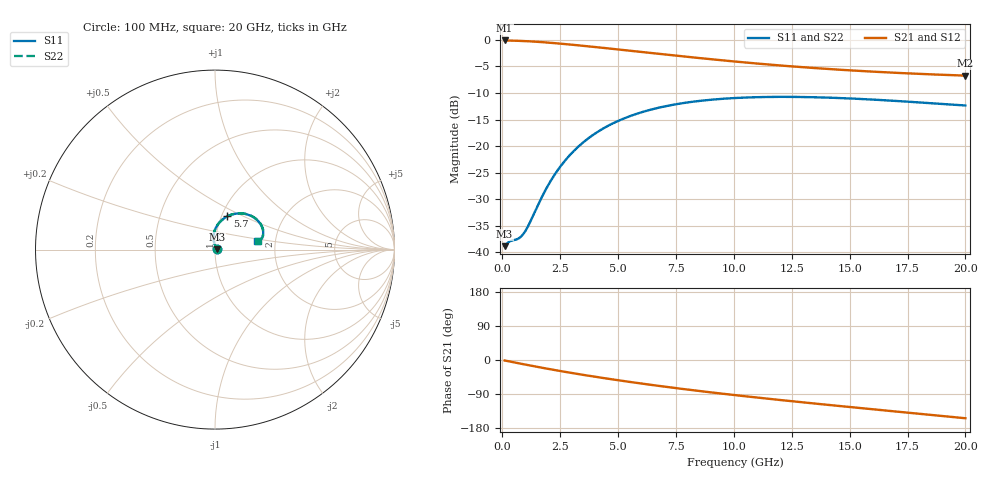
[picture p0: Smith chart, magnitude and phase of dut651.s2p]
! Touchstone file exported from HFSS 2024.1.0
!  File:  C:/UserFiles/LocalFiles/RDL_TSV_Batchsim/temp_RDL_TSV_651_1779809384.aedt
!  Generated:  11:47:02 PM May 26, 2026
!  Design:  RDL_TSV
!  Project:  temp_RDL_TSV_651_1779809384
!  Setup:  Setup1
!  Solution:  Sweep
! Variables:
!  dtsv = 5.36um
!  hbump = 3um
!  htsv = 72.65um
!  ldown = 292.23um
!  lrdl = 326.59um
!  p = 40
!  p1 = 44.64um
!  rhole = 10um
!  subl = 2183.05um
!  t = 450um
!  tdown = 2.94um
!  trdl = 4.83um
!  viad = 10um
!  wdown = 18.53um
!  wrdl = 29.21um
!  xbump = 18um
# GHz S MA R 50.000000
! Terminal data exported
! Port[1] = TM1_1_T1
! Port[2] = TM1_4_T1
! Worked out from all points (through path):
!   200 points, 100 MHz to 20 GHz, reference 50 ohm
!   highest |S21| = -0.10 dB at 100 MHz (marker M1); lowest = -6.7 dB at 20 GHz (marker M2)
!   group delay of S21, straight-line fit = 20.4 ps
!   lowest |S11| = -38.9 dB at 100 MHz (marker M3), VSWR 1.02, Z = 51.1 + j0.195 ohm
!   |S11| at or under -10 dB: start of sweep to end of sweep
!   |S22| runs from -38.9 to -10.7 dB; largest |S21 - S12| = 9.3e-15
!   S11 on the Smith chart (normalised r, x): 100 MHz: 1.02, +0.00; 5.7 GHz: 1.07, +0.41; 20 GHz: 1.61, +0.16
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0.1  0.01141 9.6  0.9885 -1.3  0.9885 -1.3  0.01141 9.6
! Gamma 0 0 0 0
! Port Impedance 50 0 50 0
0.3  0.01258 21.4  0.9864 -3.7  0.9864 -3.7  0.01258 21.4
0.7  0.01346 45.0  0.9806 -8.6  0.9806 -8.6  0.01345 45.0
0.9  0.01476 59.7  0.9766 -11.0  0.9766 -11.0  0.01475 59.8
1.1  0.01739 73.2  0.9719 -13.3  0.9719 -13.3  0.01739 73.4
1.8  0.03623 96.1  0.9502 -21.4  0.9502 -21.4  0.03627 96.2
2.2  0.05136 98.2  0.9351 -25.8  0.9351 -25.8  0.05145 98.3
2.5  0.06388 97.7  0.923 -29.0  0.923 -29.0  0.06399 97.8
2.8  0.07701 96.1  0.9103 -32.2  0.9103 -32.2  0.07716 96.2
3.5  0.1086 90.5  0.8798 -39.3  0.8798 -39.3  0.1088 90.6
4  0.1309 85.7  0.8576 -44.1  0.8576 -44.1  0.1312 85.8
4.5  0.1524 80.9  0.8355 -48.8  0.8355 -48.8  0.1527 80.9
5.1  0.1763 75.1  0.8092 -54.3  0.8092 -54.3  0.1767 75.1
5.7  0.1979 69.5  0.7835 -59.5  0.7835 -59.5  0.1984 69.6
6.8  0.231 59.9  0.7384 -68.7  0.7384 -68.7  0.2317 60.0
8.4  0.2645 47.9  0.6787 -81.0  0.6787 -81.0  0.2654 48.0
10.1  0.284 37.4  0.6243 -93.1  0.6243 -93.1  0.285 37.5
11.7  0.2906 29.4  0.5817 -103.7  0.5817 -103.7  0.2919 29.5
13.4  0.2887 22.5  0.5449 -114.3  0.5449 -114.3  0.2902 22.6
15  0.281 17.6  0.5171 -124.1  0.5171 -124.1  0.2827 17.6
16.7  0.2687 13.8  0.4936 -134.2  0.4936 -134.2  0.2706 13.9
20  0.2412 11.4  0.461 -153.7  0.461 -153.7  0.2433 11.4
